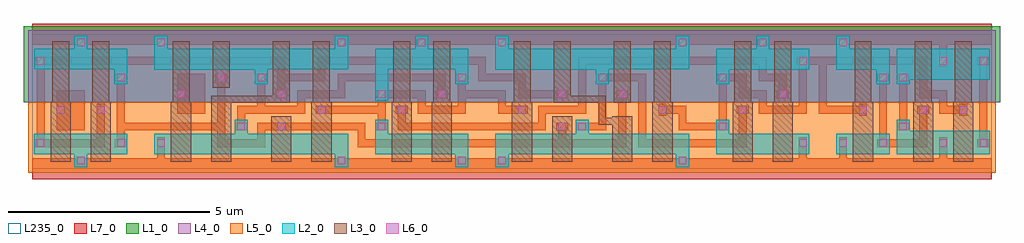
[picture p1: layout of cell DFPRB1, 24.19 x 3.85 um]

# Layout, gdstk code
import gdstk
lib = gdstk.Library(unit=1e-6, precision=1e-09)
def R(c, l, rs):  # rectangles x0, y0, x1, y1
    for r in rs: c.add(gdstk.rectangle(r[:2], r[2:], *l))
def A(c, l, x, y, w, h, nx, ny, dx, dy):  # array of equal rectangles
    R(c, l, [(x+i*dx, y+j*dy, x+i*dx+w, y+j*dy+h) for i in range(nx) for j in range(ny)])
def P(c, l, *ps):  # polygons
    for p in ps: c.add(gdstk.Polygon(p, *l))
L1_0 = (1, 0)
L2_0 = (2, 0)
L3_0 = (3, 0)
L4_0 = (4, 0)
L5_0 = (5, 0)
L6_0 = (6, 0)
L7_0 = (7, 0)
L235_0 = (235, 0)

dfprb1 = lib.new_cell('DFPRB1')
R(dfprb1, L1_0, [(-0.2,1.653,23.985,3.532)])
R(dfprb1, L2_0, [(19.93,0.363,21.25,0.863)])
P(dfprb1, L2_0, [(1.044,0.036),(1.044,0.363),(0.05,0.363),(0.05,0.863),(2.364,0.863),(2.364,0.363),(1.37,0.363),(1.37,0.036)],
  [(7.505,0.036),(7.505,0.363),(3.032,0.363),(3.032,0.863),(5.02,0.863),(5.02,1.209),(5.346,1.209),(5.346,0.863),(7.831,0.863),(7.831,0.036)],
  [(10.487,0.036),(10.487,0.363),(8.499,0.363),(8.499,1.209),(8.825,1.209),(8.825,0.863),(10.813,0.863),(10.813,0.036)],
  [(11.481,0.036),(11.481,0.863),(13.469,0.863),(13.469,1.209),(13.795,1.209),(13.795,0.863),(16.28,0.863),(16.28,0.036),(15.954,0.036),(15.954,0.363),(11.807,0.363),(11.807,0.036)],
  [(16.948,0.363),(16.948,1.209),(17.274,1.209),(17.274,0.863),(19.262,0.863),(19.262,0.363)],
  [(21.421,0.363),(21.421,1.209),(21.747,1.209),(21.747,0.943),(23.735,0.943),(23.735,0.363)],
  [(21.421,2.097),(21.421,2.969),(23.735,2.969),(23.735,2.209),(21.747,2.209),(21.747,2.097)],
  [(2.038,2.097),(2.038,2.469),(0.05,2.469),(0.05,2.969),(1.044,2.969),(1.044,3.296),(1.37,3.296),(1.37,2.969),(2.364,2.969),(2.364,2.097)],
  [(5.517,2.097),(5.517,2.449),(3.032,2.449),(3.032,3.296),(3.358,3.296),(3.358,2.969),(7.505,2.969),(7.505,3.296),(7.831,3.296),(7.831,2.469),(5.843,2.469),(5.843,2.097)],
  [(8.499,1.684),(8.499,2.969),(9.493,2.969),(9.493,3.296),(9.819,3.296),(9.819,2.969),(10.813,2.969),(10.813,2.097),(10.487,2.097),(10.487,2.469),(8.825,2.469),(8.825,1.684)],
  [(13.966,2.097),(13.966,2.449),(11.481,2.449),(11.481,3.296),(11.807,3.296),(11.807,2.969),(15.954,2.969),(15.954,3.296),(16.28,3.296),(16.28,2.469),(14.292,2.469),(14.292,2.097)],
  [(16.948,2.097),(16.948,2.969),(17.942,2.969),(17.942,3.296),(18.268,3.296),(18.268,2.969),(19.262,2.969),(19.262,2.449),(17.274,2.449),(17.274,2.097)],
  [(20.924,2.097),(20.924,2.449),(19.93,2.449),(19.93,3.296),(20.256,3.296),(20.256,2.969),(21.25,2.969),(21.25,2.097)])
R(dfprb1, L3_0, [(5.927,0.177,6.427,1.296), (12.885,0.177,13.385,1.296), (14.416,1.637,14.836,3.155), (4.476,2.01,4.896,3.155)])
P(dfprb1, L3_0, [(0.46,0.177),(0.46,1.653),(0.5,1.653),(0.5,3.155),(0.92,3.155),(0.92,1.653),(0.96,1.653),(0.96,0.177)],
  [(1.454,0.177),(1.454,1.653),(1.494,1.653),(1.494,3.155),(1.914,3.155),(1.914,1.653),(1.954,1.653),(1.954,0.177)],
  [(3.442,0.177),(3.442,1.653),(3.482,1.653),(3.482,3.155),(3.902,3.155),(3.902,1.653),(3.942,1.653),(3.942,0.177)],
  [(4.436,0.177),(4.436,1.809),(5.967,1.809),(5.967,3.155),(6.387,3.155),(6.387,1.629),(4.936,1.629),(4.936,0.177)],
  [(6.921,0.177),(6.921,1.653),(6.961,1.653),(6.961,3.155),(7.381,3.155),(7.381,1.653),(7.421,1.653),(7.421,0.177)],
  [(8.909,0.177),(8.909,1.653),(8.949,1.653),(8.949,3.155),(9.369,3.155),(9.369,1.653),(9.409,1.653),(9.409,0.177)],
  [(9.903,0.177),(9.903,1.653),(9.943,1.653),(9.943,3.155),(10.363,3.155),(10.363,1.653),(10.403,1.653),(10.403,0.177)],
  [(11.891,0.177),(11.891,1.653),(11.931,1.653),(11.931,3.155),(12.351,3.155),(12.351,1.653),(12.391,1.653),(12.391,0.177)],
  [(14.376,0.177),(14.376,1.084),(14.039,1.084),(14.039,1.629),(12.925,1.629),(12.925,3.155),(13.345,3.155),(13.345,1.809),(14.219,1.809),(14.219,1.264),(14.376,1.264),(14.376,1.296),(14.876,1.296),(14.876,0.177)],
  [(15.37,0.177),(15.37,1.653),(15.41,1.653),(15.41,3.155),(15.83,3.155),(15.83,1.653),(15.87,1.653),(15.87,0.177)],
  [(17.358,0.177),(17.358,1.653),(17.398,1.653),(17.398,3.155),(17.818,3.155),(17.818,1.653),(17.858,1.653),(17.858,0.177)],
  [(18.352,0.177),(18.352,1.653),(18.392,1.653),(18.392,3.155),(18.812,3.155),(18.812,1.653),(18.852,1.653),(18.852,0.177)],
  [(20.34,0.177),(20.34,1.653),(20.38,1.653),(20.38,3.155),(20.8,3.155),(20.8,1.653),(20.84,1.653),(20.84,0.177)],
  [(21.831,0.177),(21.831,1.653),(21.871,1.653),(21.871,3.155),(22.291,3.155),(22.291,1.653),(22.331,1.653),(22.331,0.177)],
  [(22.825,0.177),(22.825,1.653),(22.865,1.653),(22.865,3.155),(23.285,3.155),(23.285,1.653),(23.325,1.653),(23.325,0.177)])
R(dfprb1, L4_0, [(-0.1,1.653,23.885,3.432)])
R(dfprb1, L5_0, [(-0.1,-0.1,23.885,1.653)])
A(dfprb1, L6_0, 19.006, 0.54, 0.186, 0.186, 3, 1, 0.994, 0)
A(dfprb1, L6_0, 3.599, 1.754, 0.186, 0.186, 3, 1, 2.485, 0)
A(dfprb1, L6_0, 7.575, 3.04, 0.186, 0.186, 3, 1, 1.988, 0)
A(dfprb1, L6_0, 16.024, 3.04, 0.186, 0.186, 3, 1, 1.988, 0)
R(dfprb1, L6_0, [(1.114,0.106,1.3,0.292), (7.575,0.106,7.761,0.292), (10.557,0.106,10.743,0.292), (11.551,0.106,11.737,0.292), (16.024,0.106,16.21,0.292), (0.12,0.54,0.306,0.726), (2.108,0.54,2.294,0.726), (3.102,0.54,3.288,0.726), (22.485,0.54,22.671,0.726), (23.479,0.54,23.665,0.726), (5.09,0.953,5.276,1.139), (6.084,0.953,6.27,1.139), (8.569,0.953,8.755,1.139), (13.042,0.953,13.228,1.139), (13.539,0.953,13.725,1.139), (17.018,0.953,17.204,1.139), (21.491,0.953,21.677,1.139), (0.617,1.366,0.803,1.552), (1.611,1.366,1.797,1.552), (7.078,1.366,7.264,1.552), (9.066,1.366,9.252,1.552), (12.048,1.366,12.234,1.552), (15.527,1.366,15.713,1.552), (17.515,1.366,17.701,1.552), (20.497,1.366,20.683,1.552), (21.988,1.366,22.174,1.552), (22.982,1.366,23.168,1.552), (10.06,1.754,10.246,1.94), (13.042,1.754,13.228,1.94), (14.533,1.754,14.719,1.94), (18.509,1.754,18.695,1.94), (2.108,2.167,2.294,2.353), (4.593,2.167,4.779,2.353), (5.587,2.167,5.773,2.353), (10.557,2.167,10.743,2.353), (14.036,2.167,14.222,2.353), (17.018,2.167,17.204,2.353), (20.994,2.167,21.18,2.353), (21.491,2.167,21.677,2.353), (0.12,2.58,0.306,2.766), (19.006,2.58,19.192,2.766), (22.485,2.58,22.671,2.766), (23.479,2.58,23.665,2.766), (1.114,3.04,1.3,3.226), (3.102,3.04,3.288,3.226)])
R(dfprb1, L7_0, [(0.613,0.949,1.304,1.944), (3.595,1.362,4.286,2.357)])
P(dfprb1, L7_0, [(0,-0.26),(0,0.26),(1.11,0.26),(1.11,0.296),(1.304,0.296),(1.304,0.26),(3.098,0.26),(3.098,0.776),(3.292,0.776),(3.292,0.26),(7.571,0.26),(7.571,0.296),(7.765,0.296),(7.765,0.26),(10.553,0.26),(10.553,0.296),(10.747,0.296),(10.747,0.26),(11.547,0.26),(11.547,0.296),(11.741,0.296),(11.741,0.26),(16.02,0.26),(16.02,0.296),(16.214,0.296),(16.214,0.26),(19.002,0.26),(19.002,0.776),(19.196,0.776),(19.196,0.26),(19.996,0.26),(19.996,0.776),(20.19,0.776),(20.19,0.26),(22.481,0.26),(22.481,0.776),(22.675,0.776),(22.675,0.26),(23.785,0.26),(23.785,-0.26)],
  [(2.054,0.536),(2.054,0.73),(2.104,0.73),(2.104,2.163),(2.054,2.163),(2.054,2.357),(2.348,2.357),(2.348,2.163),(2.298,2.163),(2.298,1.143),(4.589,1.143),(4.589,2.163),(4.539,2.163),(4.539,2.357),(4.833,2.357),(4.833,2.163),(4.783,2.163),(4.783,0.73),(5.583,0.73),(5.583,1.143),(8.262,1.143),(8.262,0.73),(13.038,0.73),(13.038,0.949),(12.988,0.949),(12.988,1.143),(13.282,1.143),(13.282,0.949),(13.232,0.949),(13.232,0.73),(14.529,0.73),(14.529,1.75),(14.479,1.75),(14.479,1.944),(14.773,1.944),(14.773,1.75),(14.723,1.75),(14.723,0.536),(8.068,0.536),(8.068,0.949),(5.777,0.949),(5.777,0.536),(4.589,0.536),(4.589,0.949),(2.298,0.949),(2.298,0.73),(2.348,0.73),(2.348,0.536)],
  [(5.036,0.949),(5.036,1.143),(5.086,1.143),(5.086,1.556),(5.583,1.556),(5.583,2.163),(5.533,2.163),(5.533,2.357),(5.827,2.357),(5.827,2.163),(5.777,2.163),(5.777,1.556),(6.577,1.556),(6.577,1.944),(7.571,1.944),(7.571,2.357),(10.25,2.357),(10.25,1.944),(10.3,1.944),(10.3,1.75),(10.006,1.75),(10.006,1.944),(10.056,1.944),(10.056,2.163),(7.765,2.163),(7.765,1.75),(6.771,1.75),(6.771,1.362),(5.28,1.362),(5.28,1.143),(5.33,1.143),(5.33,0.949)],
  [(8.515,0.949),(8.515,1.143),(8.565,1.143),(8.565,1.362),(7.024,1.362),(7.024,1.556),(8.565,1.556),(8.565,1.75),(8.515,1.75),(8.515,1.944),(9.753,1.944),(9.753,1.556),(10.553,1.556),(10.553,2.163),(10.503,2.163),(10.503,2.357),(10.797,2.357),(10.797,2.163),(10.747,2.163),(10.747,1.944),(11.741,1.944),(11.741,1.556),(12.288,1.556),(12.288,1.362),(11.547,1.362),(11.547,1.75),(10.747,1.75),(10.747,1.362),(9.559,1.362),(9.559,1.75),(8.759,1.75),(8.759,1.143),(8.809,1.143),(8.809,0.949)],
  [(15.026,0.536),(15.026,2.163),(14.226,2.163),(14.226,0.949),(13.485,0.949),(13.485,1.143),(14.032,1.143),(14.032,2.163),(13.982,2.163),(13.982,2.357),(15.22,2.357),(15.22,0.73),(17.511,0.73),(17.511,1.362),(17.461,1.362),(17.461,1.556),(17.755,1.556),(17.755,1.362),(17.705,1.362),(17.705,0.536)],
  [(20.94,0.536),(20.94,0.73),(20.99,0.73),(20.99,2.163),(20.94,2.163),(20.94,2.357),(21.234,2.357),(21.234,2.163),(21.184,2.163),(21.184,0.73),(21.984,0.73),(21.984,1.362),(21.934,1.362),(21.934,1.556),(22.228,1.556),(22.228,1.362),(22.178,1.362),(22.178,0.536)],
  [(21.437,0.949),(21.437,1.143),(21.487,1.143),(21.487,2.163),(21.437,2.163),(21.437,2.357),(21.731,2.357),(21.731,2.163),(21.681,2.163),(21.681,1.143),(21.731,1.143),(21.731,0.949)],
  [(0.066,0.536),(0.066,0.73),(0.116,0.73),(0.116,2.576),(0.066,2.576),(0.066,2.77),(6.274,2.77),(6.274,2.357),(7.074,2.357),(7.074,2.77),(11.244,2.77),(11.244,2.357),(12.238,2.357),(12.238,1.944),(13.282,1.944),(13.282,1.75),(12.044,1.75),(12.044,2.163),(11.05,2.163),(11.05,2.576),(7.268,2.576),(7.268,2.163),(6.274,2.163),(6.274,1.944),(6.324,1.944),(6.324,1.75),(6.03,1.75),(6.03,1.944),(6.08,1.944),(6.08,2.576),(0.31,2.576),(0.31,0.73),(1.607,0.73),(1.607,1.606),(1.801,1.606),(1.801,0.536)],
  [(9.062,0.949),(9.062,1.362),(9.012,1.362),(9.012,1.556),(9.306,1.556),(9.306,1.362),(9.256,1.362),(9.256,1.143),(12.541,1.143),(12.541,1.556),(13.535,1.556),(13.535,2.77),(18.202,2.77),(18.202,2.357),(18.699,2.357),(18.699,1.944),(18.749,1.944),(18.749,1.75),(18.455,1.75),(18.455,1.944),(18.505,1.944),(18.505,2.163),(18.008,2.163),(18.008,2.576),(13.729,2.576),(13.729,1.362),(12.735,1.362),(12.735,0.949)],
  [(16.02,0.949),(16.02,1.362),(15.717,1.362),(15.717,1.312),(15.523,1.312),(15.523,1.606),(15.717,1.606),(15.717,1.556),(16.214,1.556),(16.214,1.143),(17.014,1.143),(17.014,2.163),(16.964,2.163),(16.964,2.357),(17.705,2.357),(17.705,1.944),(18.202,1.944),(18.202,1.556),(19.002,1.556),(19.002,2.576),(18.952,2.576),(18.952,2.77),(22.178,2.77),(22.178,1.944),(22.675,1.944),(22.675,1.556),(22.978,1.556),(22.978,1.606),(23.172,1.606),(23.172,1.312),(22.978,1.312),(22.978,1.362),(22.481,1.362),(22.481,1.75),(21.984,1.75),(21.984,2.576),(19.693,2.576),(19.693,1.556),(20.493,1.556),(20.493,1.606),(20.687,1.606),(20.687,1.312),(20.493,1.312),(20.493,1.362),(19.499,1.362),(19.499,2.576),(19.196,2.576),(19.196,1.362),(18.008,1.362),(18.008,1.75),(17.511,1.75),(17.511,2.163),(17.208,2.163),(17.208,1.143),(17.258,1.143),(17.258,0.949)],
  [(23.425,0.536),(23.425,0.73),(23.475,0.73),(23.475,2.576),(23.425,2.576),(23.425,2.77),(23.719,2.77),(23.719,2.576),(23.669,2.576),(23.669,0.73),(23.719,0.73),(23.719,0.536)],
  [(22.481,2.53),(22.481,3.072),(20.19,3.072),(20.19,3.036),(19.996,3.036),(19.996,3.072),(18.202,3.072),(18.202,3.036),(18.008,3.036),(18.008,3.072),(16.214,3.072),(16.214,3.036),(16.02,3.036),(16.02,3.072),(11.741,3.072),(11.741,3.036),(11.547,3.036),(11.547,3.072),(9.753,3.072),(9.753,3.036),(9.559,3.036),(9.559,3.072),(7.765,3.072),(7.765,3.036),(7.571,3.036),(7.571,3.072),(3.292,3.072),(3.292,3.036),(3.098,3.036),(3.098,3.072),(1.304,3.072),(1.304,3.036),(1.11,3.036),(1.11,3.072),(0,3.072),(0,3.592),(23.785,3.592),(23.785,3.072),(22.675,3.072),(22.675,2.53)])
R(dfprb1, L235_0, [(0,0,23.785,3.332)])

lib.write_gds('DFPRB1.gds')
